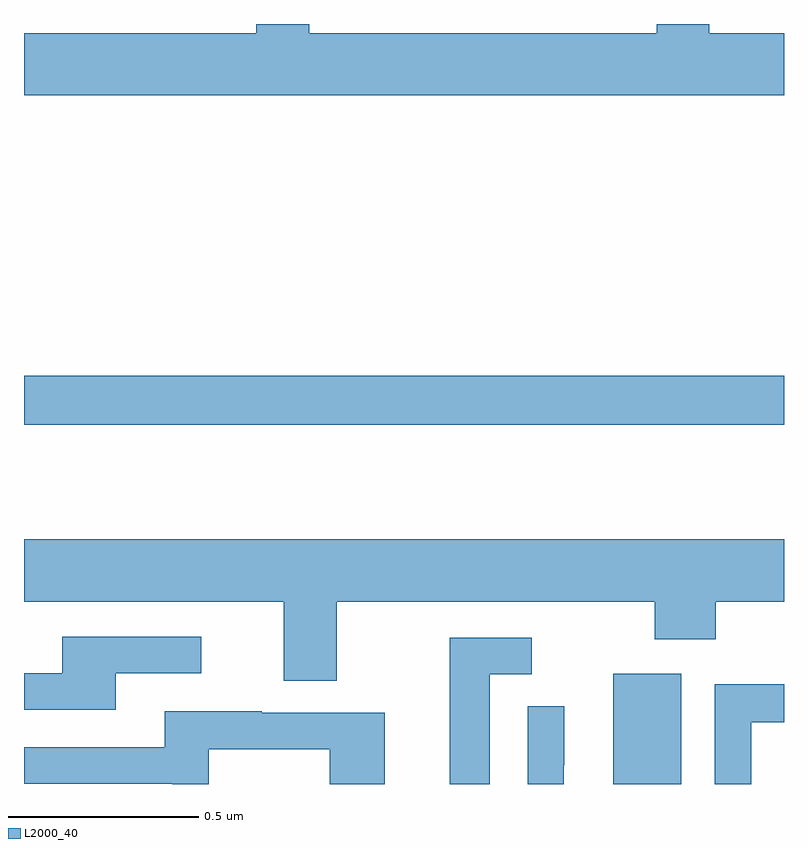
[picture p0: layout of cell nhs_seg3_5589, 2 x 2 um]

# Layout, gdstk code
import gdstk
lib = gdstk.Library(unit=1e-6, precision=1e-09)
def R(c, l, rs):  # rectangles x0, y0, x1, y1
    for r in rs: c.add(gdstk.rectangle(r[:2], r[2:], *l))
def P(c, l, *ps):  # polygons
    for p in ps: c.add(gdstk.Polygon(p, *l))
L2000_40 = (2000, 40)

nhs_seg3_5589 = lib.new_cell('nhs_seg3_5589')
R(nhs_seg3_5589, L2000_40, [(181.55,736.4,181.729,736.69), (180,737.346,182,737.474)])
P(nhs_seg3_5589, L2000_40, [(182,738.376),(181.803,738.376),(181.803,738.4),(181.665,738.4),(181.665,738.376),(180.751,738.376),(180.751,738.4),(180.611,738.4),(180.611,738.376),(180,738.376),(180,738.212),(182,738.212)],
  [(180.823,736.88),(181.66,736.88),(181.66,736.781),(181.82,736.781),(181.82,736.88),(182,736.88),(182,737.044),(180,737.044),(180,736.88),(180.683,736.88),(180.683,736.672),(180.823,736.672)],
  [(180.241,736.692),(180.466,736.692),(180.466,736.788),(180.101,736.788),(180.101,736.692),(180,736.692),(180,736.596),(180.241,736.596)],
  [(181.225,736.689),(181.336,736.689),(181.336,736.785),(181.121,736.785),(181.121,736.4),(181.225,736.4)],
  [(181.914,736.563),(182,736.563),(182,736.662),(181.818,736.662),(181.818,736.4),(181.914,736.4)],
  [(181.421,736.45),(181.422,736.45),(181.422,736.604),(181.326,736.604),(181.326,736.4),(181.421,736.4)],
  [(180.486,736.491),(180.804,736.491),(180.804,736.4),(180.949,736.4),(180.949,736.587),(180.625,736.587),(180.625,736.591),(180.371,736.591),(180.371,736.497),(180,736.497),(180,736.401),(180.39,736.401),(180.39,736.4),(180.486,736.4)])

lib.write_gds('nhs_seg3_5589.gds')
